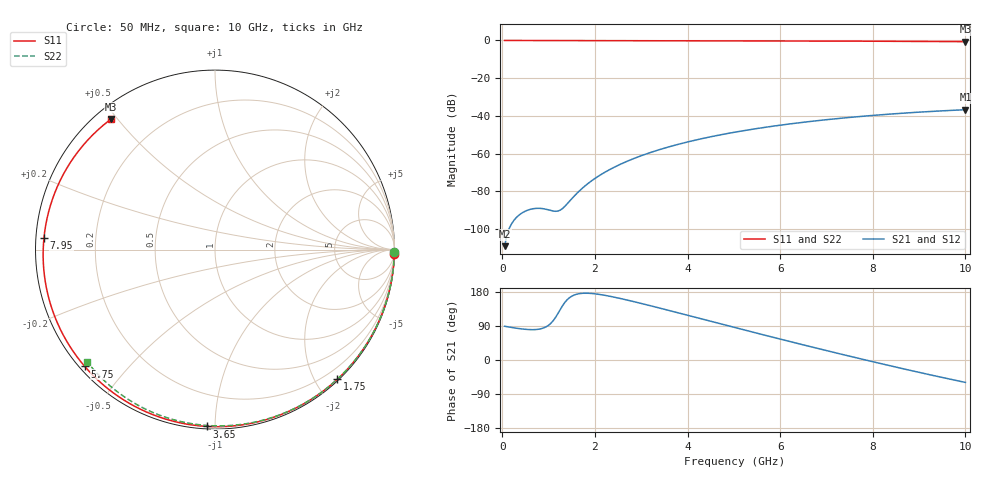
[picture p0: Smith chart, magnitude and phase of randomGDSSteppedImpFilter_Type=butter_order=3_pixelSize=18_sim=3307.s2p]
! freq	dB(S11)	phase(S11)	dB(S12)	phase(S12)
!  dB(S21)	phase(S21)	dB(S22)	phase(S22)
!S-par simulation data
#  GHz  S  DB  R 50
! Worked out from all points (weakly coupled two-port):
!   200 points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, 50 MHz to 10 GHz, reference 50 ohm
!   highest |S21| = -36.70 dB at 10 GHz (marker M1); lowest = -109.0 dB at 50 MHz (marker M2)
!   lowest |S11| = -0.6 dB at 10 GHz (marker M3), VSWR 27.40, Z = 2.25 + j24.1 ohm
!   |S11| at or under -10 dB: nowhere
!   |S22| runs from -0.5 to 0.0 dB; largest |S21 - S12| = 0
!   S11 on the Smith chart (normalised r, x): 50 MHz: 0, -83; 1.75 GHz: 0.02, -2.32; 3.65 GHz: 0.01, -0.95; 5.75 GHz: 0.01, -0.38; 7.95 GHz: 0.02, +0.03; 10 GHz: 0.04, +0.48
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0.05  -0.00 -1.4  -109.02 89.1  -109.02 89.1  -0.00 -0.8
0.4  -0.02 -10.9  -91.83 82.3  -91.83 82.3  -0.01 -6.4
0.8  -0.03 -21.7  -88.96 81.5  -88.96 81.5  -0.02 -12.8
1.2  -0.04 -32.3  -90.42 122.4  -90.42 122.4  -0.02 -19.1
1.65  -0.06 -44.1  -80.07 174.8  -80.07 174.8  -0.03 -26.1
1.75  -0.06 -46.7  -77.84 176.2  -77.84 176.2  -0.04 -27.7
2.05  -0.07 -54.3  -72.32 173.9  -72.32 173.9  -0.04 -32.3
2.45  -0.08 -64.3  -66.78 165.0  -66.78 165.0  -0.05 -38.5
2.9  -0.09 -75.2  -62.00 152.3  -62.00 152.3  -0.06 -45.3
3.4  -0.11 -87.0  -57.81 137.0  -57.81 137.0  -0.07 -52.7
3.65  -0.12 -92.7  -56.03 129.1  -56.03 129.1  -0.08 -56.3
4.35  -0.15 -108.4  -51.82 107.0  -51.82 107.0  -0.09 -66.4
5.05  -0.18 -123.4  -48.48 84.8  -48.48 84.8  -0.12 -76.2
5.75  -0.22 -138.1  -45.76 62.9  -45.76 62.9  -0.14 -85.6
6.25  -0.25 -148.5  -44.11 47.5  -44.11 47.5  -0.17 -92.2
6.7  -0.29 -157.7  -42.79 33.9  -42.79 33.9  -0.19 -98.1
7.35  -0.34 -171.3  -41.13 14.4  -41.13 14.4  -0.23 -106.3
7.95  -0.40 176.0  -39.83 -3.1  -39.83 -3.1  -0.27 -113.8
8.35  -0.44 167.3  -39.06 -14.5  -39.06 -14.5  -0.30 -118.8
9.15  -0.53 149.1  -37.77 -36.7  -37.77 -36.7  -0.38 -128.5
9.55  -0.58 139.6  -37.23 -47.4  -37.23 -47.4  -0.42 -133.4
10  -0.63 128.4  -36.70 -59.1  -36.70 -59.1  -0.47 -138.8
